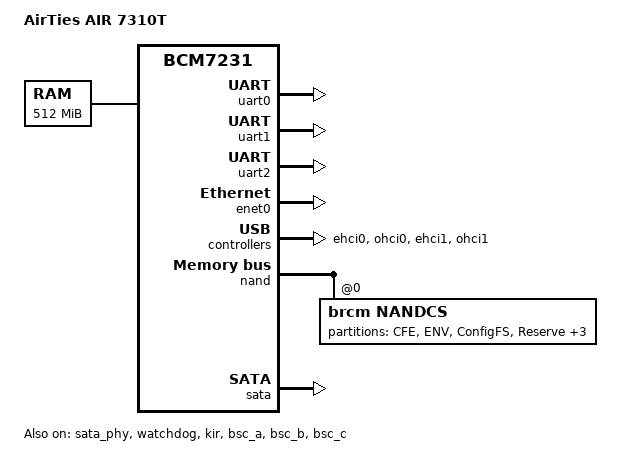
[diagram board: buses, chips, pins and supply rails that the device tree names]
// SPDX-License-Identifier: GPL-2.0
/dts-v1/;

/* 2 MB at 12 MB for the DVB driver (bcm7231-dvb.c), 1 MB per adapter
 * (adapter1 at 0x00c00000, adapter0 at 0x00d00000): its XPT MSG DMA ring
 * (512 KB), then its RS G1, RS G3 and XC staging rings (128 KB each). The
 * unused bands share a 256-byte dummy right after adapter0's (0x00de0000).
 * In the low 16 MB of DRAM, where the rings were validated, clear of the
 * kernel (0..~6 MB). */
/memreserve/ 0x00c00000 0x00200000;

#include "bcm7231.dtsi"

/ {
	compatible = "airties,air7310t", "brcm,bcm7231";
	model = "AirTies AIR 7310T";

	memory@0 {
		device_type = "memory";
		/* 256 MB at 0x00000000 + 256 MB at 0x20000000 */
		reg = <0x00000000 0x10000000>,
		      <0x20000000 0x10000000>;
	};

	chosen {
		/* libata.force: the SATA link fails 8b/10b decoding (BadCRC, Dispar)
		 * at 6 and 3 Gbps on this board; 1.5 Gbps is stable and still beyond
		 * what a hard disk streams.
		 * rcutree.kthread_prio: RCU kthreads run SCHED_FIFO, so a CPU-bound
		 * network load cannot starve them (48 s stall, box frozen).
		 * rtw88_usb.switch_usb_mode=0: the BCM7231 has no USB 3 host; at probe
		 * rtw88 switched the RTL8812BU to USB 3 anyway, the dongle dropped off
		 * the bus mid-write (-71 errors) and came back in USB 2.
		 * ubi.mtd/root=ubi0:rootfs: the rootfs is UBIFS in the UBI volume named
		 * "rootfs" on mtd5 (RootFS), mounted read-only by that name (UBI
		 * handles the NAND's bad blocks, mtdblock did not). By name, not by
		 * volume id: an update writes "rootfs_new" and swaps the names (a root
		 * found by id lost it in such a swap: panic loop, 2026-10-25). */
		bootargs = "console=ttyS0,115200 ubi.mtd=RootFS root=ubi0:rootfs rootfstype=ubifs ro init=/sbin/init libata.force=1.5Gbps rcutree.kthread_prio=10 rtw88_usb.switch_usb_mode=0";
		stdout-path = &uart0;
	};
};

&uart0 {
	status = "okay";
};

&uart1 {
	status = "okay";
};

&uart2 {
	status = "okay";
};

&enet0 {
	status = "okay";
};

&ehci0 {
	status = "okay";
};

&ohci0 {
	status = "okay";
};

&ehci1 {
	status = "okay";
};

&ohci1 {
	status = "okay";
};

&nand {
	status = "okay";

	nandcs@0 {
		compatible = "brcm,nandcs";
		reg = <0>;
		nand-on-flash-bbt;

		nand-ecc-strength = <1>;
		nand-ecc-step-size = <512>;
		brcm,nand-oob-sector-size = <16>;

		partitions {
			compatible = "fixed-partitions";
			#address-cells = <1>;
			#size-cells = <1>;

			partition@0 {
				label = "CFE";
				reg = <0x00000000 0x00200000>;
				read-only;
			};

			partition@200000 {
				label = "ENV";
				reg = <0x00200000 0x00100000>;
			};

			partition@300000 {
				label = "ConfigFS";
				reg = <0x00300000 0x00600000>;
			};

			partition@900000 {
				label = "Reserve";
				reg = <0x00900000 0x00a00000>;
			};

			partition@1300000 {
				label = "Kernel";
				reg = <0x01300000 0x00700000>;
			};

			partition@1a00000 {
				label = "RootFS";
				reg = <0x01a00000 0x04600000>;
			};

			partition@6000000 {
				label = "Recovery";
				reg = <0x06000000 0x01c00000>;
			};
		};
	};
};

&sata {
	status = "okay";
};

&sata_phy {
	status = "okay";
};

&watchdog {
	status = "okay";
};

&kir {
	status = "okay";
};

&bsc_a {
	status = "okay";
};

&bsc_b {
	status = "okay";
};

&bsc_c {
	status = "okay";
};
